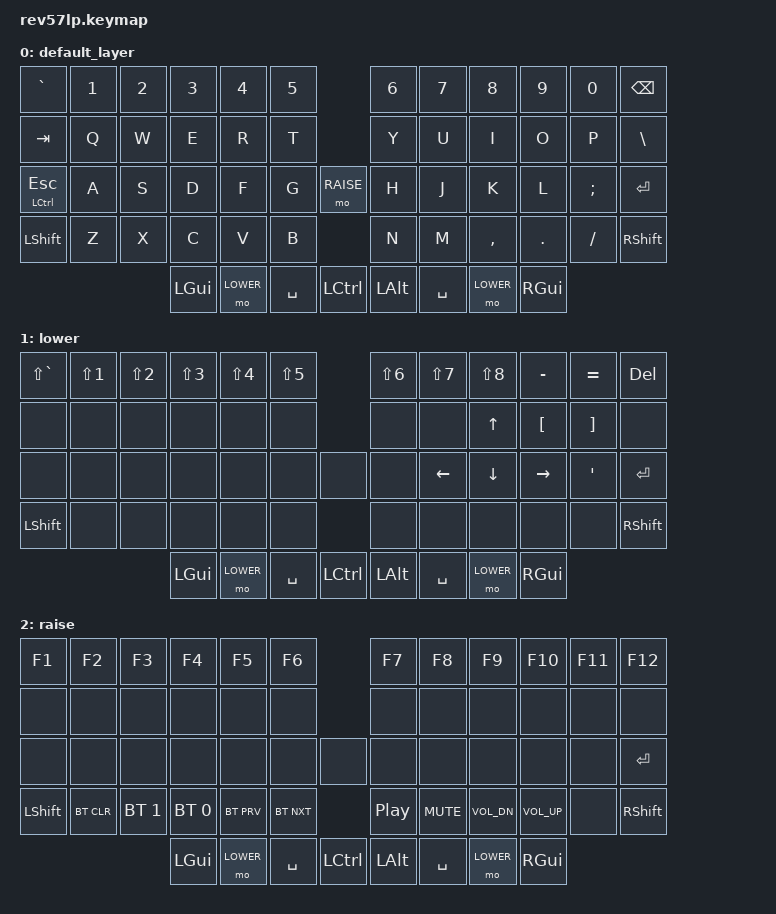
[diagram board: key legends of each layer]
/*
 * Copyright (c) 2022 The ZMK Contributors
 *
 * SPDX-License-Identifier: MIT
 */

#include <behaviors.dtsi>
#include <dt-bindings/zmk/keys.h>
#include <dt-bindings/zmk/bt.h>

#define DEFAULT 0
#define LOWER   1
#define RAISE   2

/ {
    keymap {
        compatible = "zmk,keymap";
        default_layer {
            bindings = <
                &kp GRAVE    &kp N1     &kp N2    &kp N3    &kp N4     &kp N5                           &kp N6     &kp N7     &kp N8     &kp N9    &kp N0     &kp BSPC
                &kp TAB      &kp Q      &kp W     &kp E     &kp R      &kp T                            &kp Y      &kp U      &kp I      &kp O     &kp P      &kp BACKSLASH
                &mt LCTL ESC &kp A      &kp S     &kp D     &kp F      &kp G          &mo RAISE         &kp H      &kp J      &kp K      &kp L     &kp SEMI   &kp RET
                &kp LSHIFT   &kp Z      &kp X     &kp C     &kp V      &kp B                            &kp N      &kp M      &kp COMMA  &kp DOT   &kp SLASH  &kp RSHIFT
                                                  &kp LGUI  &mo LOWER  &kp SPACE  &kp LCTL    &kp LALT  &kp SPACE  &mo LOWER  &kp RGUI
                >;
        };
        lower {
            bindings = <
                &kp LS(GRAVE)  &kp LS(N1)  &kp LS(N2)   &kp LS(N3)   &kp LS(N4)  &kp LS(N5)                              &kp LS(N6)  &kp LS(N7)  &kp LS(N8)  &kp MINUS         &kp EQUAL          &kp DEL
                &none          &none       &none        &none        &none       &none                                   &none       &none       &kp UP      &kp LEFT_BRACKET  &kp RIGHT_BRACKET  &none
                &none          &none       &none        &none        &none       &none             &none                 &none       &kp LEFT    &kp DOWN    &kp RIGHT         &kp SINGLE_QUOTE   &kp RET
                &kp LSHIFT     &none       &none        &none        &none       &none                                   &none       &none       &none       &none             &none              &kp RSHIFT
                                                        &kp LGUI     &mo LOWER   &kp SPACE     &kp LCTL    &kp LALT      &kp SPACE   &mo LOWER   &kp RGUI
                >;
        };
        raise {
            bindings = <
                &kp F1         &kp F2      &kp F3       &kp F4       &kp F5      &kp F6                                 &kp F7      &kp F8      &kp F9       &kp F10       &kp F11    &kp F12
                &none          &none       &none        &none        &none       &none                                  &none       &none       &none        &none         &none      &none
                &none          &none       &none        &none        &none       &none              &none               &none       &none       &none        &none         &none      &kp RET
                &kp LSHIFT     &bt BT_CLR  &bt BT_SEL 1 &bt BT_SEL 0 &bt BT_PRV  &bt BT_NXT                             &kp C_PP    &kp C_MUTE  &kp C_VOL_DN &kp C_VOL_UP  &none      &kp RSHIFT
                                                        &kp LGUI     &mo LOWER   &kp SPACE     &kp LCTL    &kp LALT     &kp SPACE   &mo LOWER   &kp RGUI
                >;
        };
    };
};
